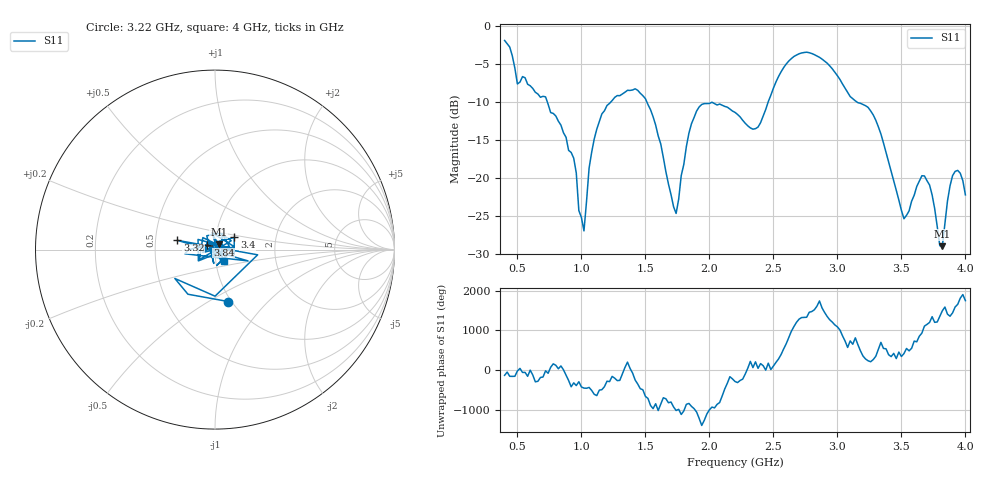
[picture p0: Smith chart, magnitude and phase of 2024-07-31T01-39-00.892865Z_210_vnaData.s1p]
!Created with skrf (http://scikit-rf.org).
# Hz S RI R 50.0
!freq ReS11 ImS11
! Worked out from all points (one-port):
!   181 points, 400 MHz to 4 GHz, reference 50 ohm
!   lowest |S11| = -29.0 dB at 3.82 GHz (marker M1), VSWR 1.07, Z = 52.1 + j2.97 ohm
!   |S11| at or under -10 dB: 733.5 MHz to 1.231 GHz (497.2 MHz wide, 50.6 % of centre); 1.511 GHz to 2.459 GHz (948.3 MHz wide, 47.8 % of centre); 3.151 GHz to end of sweep
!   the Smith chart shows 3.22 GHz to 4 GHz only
!   S11 on the Smith chart (normalised r, x): 3.22 GHz: 0.97, -0.61; 3.32 GHz: 0.65, +0.07; 3.4 GHz: 1.23, +0.17; 3.84 GHz: 0.92, +0.05; 4 GHz: 1.09, -0.13
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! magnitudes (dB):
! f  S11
! 400 MHz  -1.9
! 500 MHz  -7.6
! 860 MHz  -14.1
! 940 MHz  -17.4
! 1.02 GHz  -27.0
! 1.06 GHz  -18.7
! 1.12 GHz  -13.6
! 1.3 GHz  -9.2
! 1.5 GHz  -9.6
! 1.72 GHz  -23.8
! 1.76 GHz  -22.8
! 1.84 GHz  -14.1
! 1.92 GHz  -10.7
! 2.2 GHz  -11.4
! 2.38 GHz  -13.3
! 2.66 GHz  -4.0
! 2.88 GHz  -4.4
! 3.1 GHz  -9.3
! 3.22 GHz  -10.5
! 3.32 GHz  -13.3
! 3.4 GHz  -17.9
! 3.52 GHz  -25.4
! 3.56 GHz  -24.4
! 3.68 GHz  -19.8
! 3.82 GHz  -29.0
! 3.84 GHz  -26.0
! 3.92 GHz  -19.2
! 4 GHz  -22.2
